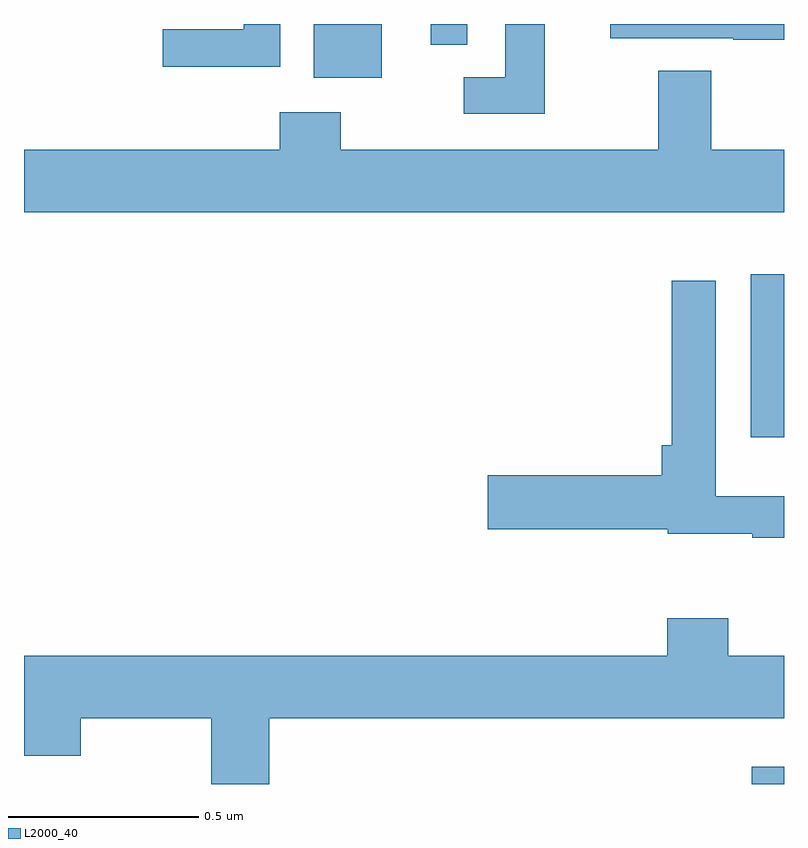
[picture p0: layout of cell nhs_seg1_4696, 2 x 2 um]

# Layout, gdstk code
import gdstk
lib = gdstk.Library(unit=1e-6, precision=1e-09)
def R(c, l, rs):  # rectangles x0, y0, x1, y1
    for r in rs: c.add(gdstk.rectangle(r[:2], r[2:], *l))
def P(c, l, *ps):  # polygons
    for p in ps: c.add(gdstk.Polygon(p, *l))
L2000_40 = (2000, 40)

nhs_seg1_4696 = lib.new_cell('nhs_seg1_4696')
R(nhs_seg1_4696, L2000_40, [(170.915,578.199,171,578.245), (170.912,579.111,171,579.541), (169.763,580.058,169.942,580.199), (170.07,580.144,170.166,580.199)])
P(nhs_seg1_4696, L2000_40, [(169.674,580.199),(169.578,580.199),(169.578,580.185),(169.365,580.185),(169.365,580.087),(169.674,580.087)],
  [(170.371,580.199),(170.267,580.199),(170.267,580.059),(170.157,580.059),(170.157,579.963),(170.371,579.963)],
  [(171,580.199),(170.543,580.199),(170.543,580.161),(170.867,580.161),(170.867,580.157),(171,580.157)],
  [(171,579.868),(170.809,579.868),(170.809,580.076),(170.669,580.076),(170.669,579.868),(169.833,579.868),(169.833,579.967),(169.673,579.967),(169.673,579.868),(169,579.868),(169,579.704),(171,579.704)],
  [(171,578.956),(170.82,578.956),(170.82,579.523),(170.704,579.523),(170.704,579.091),(170.678,579.091),(170.678,579.011),(170.22,579.011),(170.22,578.869),(170.694,578.869),(170.694,578.857),(170.917,578.857),(170.917,578.847),(171,578.847)],
  [(169.646,578.372),(171,578.372),(171,578.536),(170.853,578.536),(170.853,578.635),(170.693,578.635),(170.693,578.536),(169,578.536),(169,578.372),(169.001,578.372),(169.001,578.273),(169.149,578.273),(169.149,578.372),(169.493,578.372),(169.493,578.199),(169.646,578.199)])

lib.write_gds('nhs_seg1_4696.gds')
